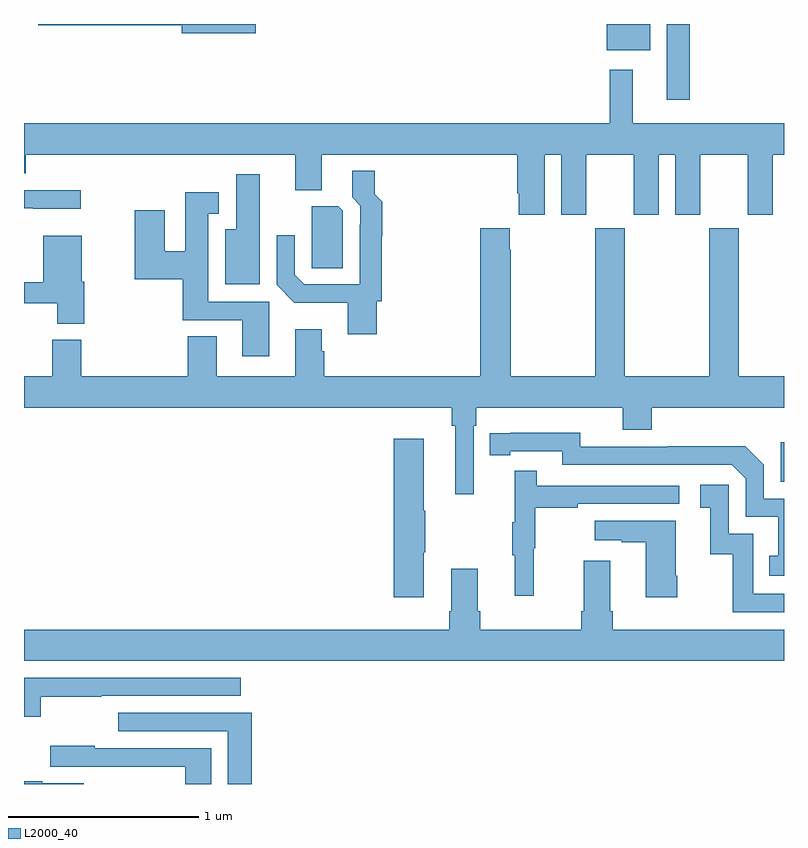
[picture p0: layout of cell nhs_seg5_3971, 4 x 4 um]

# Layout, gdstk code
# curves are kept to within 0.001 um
import gdstk
lib = gdstk.Library(unit=1e-6, precision=1e-09)
def R(c, l, rs):  # rectangles x0, y0, x1, y1
    for r in rs: c.add(gdstk.rectangle(r[:2], r[2:], *l))
def P(c, l, *ps):  # polygons
    for p in ps: c.add(gdstk.Polygon(p, *l))
L2000_40 = (2000, 40)

nhs_seg5_3971 = lib.new_cell('nhs_seg5_3971')
R(nhs_seg5_3971, L2000_40, [(348.984,836.391,349,836.599), (348.383,838.401,348.505,838.799), (348.068,838.661,348.295,838.799)])
P(nhs_seg5_3971, L2000_40, [(346.219,838.799),(345.074,838.799),(345.074,838.792),(345.83,838.792),(345.83,838.75),(346.219,838.75)],
  [(347.74,838.112),(347.828,838.112),(347.828,837.795),(347.959,837.795),(347.959,838.112),(348.209,838.112),(348.209,837.795),(348.34,837.795),(348.34,838.112),(348.428,838.112),(348.428,837.795),(348.559,837.795),(348.559,838.112),(348.809,838.112),(348.809,837.795),(348.94,837.795),(348.94,838.112),(349,838.112),(349,838.276),(348.205,838.276),(348.205,838.558),(348.084,838.558),(348.084,838.276),(345,838.276),(345,838.013),(345.008,838.013),(345.008,838.112),(346.427,838.112),(346.427,837.925),(346.567,837.925),(346.567,838.112),(347.597,838.112),(347.597,837.907),(347.603,837.907),(347.603,837.795),(347.74,837.795)],
  [(346.856,837.339),(346.883,837.339),(346.883,837.682),(346.886,837.682),(346.886,837.864),(346.847,837.903),(346.847,838.027),(346.727,838.027),(346.727,837.886),(346.77,837.843),(346.77,837.743),(346.767,837.743),(346.767,837.429),(346.476,837.429),(346.425,837.48),(346.425,837.688),(346.329,837.688),(346.329,837.426),(346.423,837.332),(346.703,837.332),(346.703,837.165),(346.856,837.165)],
  [(346.24,838.009),(346.118,838.009),(346.118,837.718),(346.058,837.718),(346.058,837.428),(346.24,837.428)],
  [(345.298,837.924),(345,837.924),(345,837.828),(345.049,837.828),(345.049,837.827),(345.298,837.827)],
  [(346.291,837.336),(345.97,837.336),(345.97,837.8),(346.024,837.8),(346.024,837.913),(345.848,837.913),(345.848,837.602),(345.742,837.602),(345.742,837.82),(345.584,837.82),(345.584,837.455),(345.836,837.455),(345.836,837.24),(346.148,837.24),(346.148,837.051),(346.291,837.051)],
  [(346.677,837.816),(346.653,837.84),(346.514,837.84),(346.514,837.625),(346.515,837.625),(346.515,837.514),(346.677,837.514)],
  [(347.367,836.684),(347.381,836.684),(347.381,836.78),(348.152,836.78),(348.152,836.663),(348.305,836.663),(348.305,836.78),(349,836.78),(349,836.944),(348.762,836.944),(348.762,837.724),(348.607,837.724),(348.607,836.944),(348.162,836.944),(348.162,837.724),(348.007,837.724),(348.007,836.944),(347.562,836.944),(347.562,837.611),(347.557,837.611),(347.557,837.724),(347.402,837.724),(347.402,836.944),(346.58,836.944),(346.58,837.077),(346.567,837.077),(346.567,837.193),(346.427,837.193),(346.427,836.944),(346.015,836.944),(346.015,837.155),(345.863,837.155),(345.863,836.944),(345.302,836.944),(345.302,837.136),(345.149,837.136),(345.149,836.944),(345,836.944),(345,836.78),(347.251,836.78),(347.251,836.684),(347.27,836.684),(347.27,836.325),(347.367,836.325)],
  [(345.317,837.442),(345.304,837.442),(345.304,837.685),(345.101,837.685),(345.101,837.439),(345,837.439),(345,837.328),(345.175,837.328),(345.175,837.221),(345.317,837.221)],
  [(349,836.301),(348.894,836.301),(348.894,836.478),(348.796,836.576),(348.388,836.576),(348.388,836.574),(347.928,836.574),(347.928,836.647),(347.452,836.646),(347.452,836.53),(347.56,836.53),(347.56,836.55),(347.832,836.55),(347.832,836.478),(348.726,836.478),(348.798,836.406),(348.798,836.205),(348.971,836.205),(348.971,836.001),(348.922,836.001),(348.922,835.896),(349,835.896)],
  [(347.104,836.02),(347.112,836.02),(347.112,836.237),(347.104,836.237),(347.104,836.617),(346.946,836.617),(346.946,835.782),(347.104,835.782)],
  [(347.684,836.04),(347.692,836.04),(347.692,836.254),(347.915,836.254),(347.915,836.274),(348.448,836.274),(348.448,836.37),(347.699,836.37),(347.699,836.449),(347.582,836.449),(347.582,836.177),(347.571,836.177),(347.571,836.003),(347.582,836.003),(347.582,835.791),(347.684,835.791)],
  [(349,835.8),(348.837,835.8),(348.837,836.115),(348.708,836.115),(348.708,836.374),(348.558,836.374),(348.558,836.253),(348.611,836.253),(348.611,836.007),(348.729,836.007),(348.729,835.704),(349,835.704)],
  [(348.438,835.894),(348.43,835.894),(348.43,836.185),(348.003,836.185),(348.003,836.081),(348.146,836.081),(348.146,836.071),(348.272,836.071),(348.272,835.782),(348.438,835.782)],
  [(349,835.612),(348.098,835.612),(348.098,835.708),(348.085,835.708),(348.085,835.975),(347.945,835.975),(347.945,835.708),(347.933,835.708),(347.933,835.612),(347.402,835.612),(347.402,835.708),(347.389,835.708),(347.389,835.933),(347.249,835.933),(347.249,835.708),(347.237,835.708),(347.237,835.612),(345,835.612),(345,835.448),(349,835.448)],
  [(345.089,835.258),(345.407,835.258),(345.407,835.263),(346.141,835.263),(346.141,835.359),(345,835.359),(345,835.152),(345.089,835.152)],
  [(346.199,835.173),(345.495,835.173),(345.495,835.077),(346.073,835.077),(346.073,834.799),(346.199,834.799)],
  [(345.985,834.987),(345.373,834.987),(345.373,835),(345.137,835),(345.137,834.891),(345.848,834.891),(345.848,834.799),(345.985,834.799)],
  [(345.315,834.802),(345.096,834.802),(345.096,834.813),(345,834.813),(345,834.799),(345.315,834.799)])

lib.write_gds('nhs_seg5_3971.gds')
